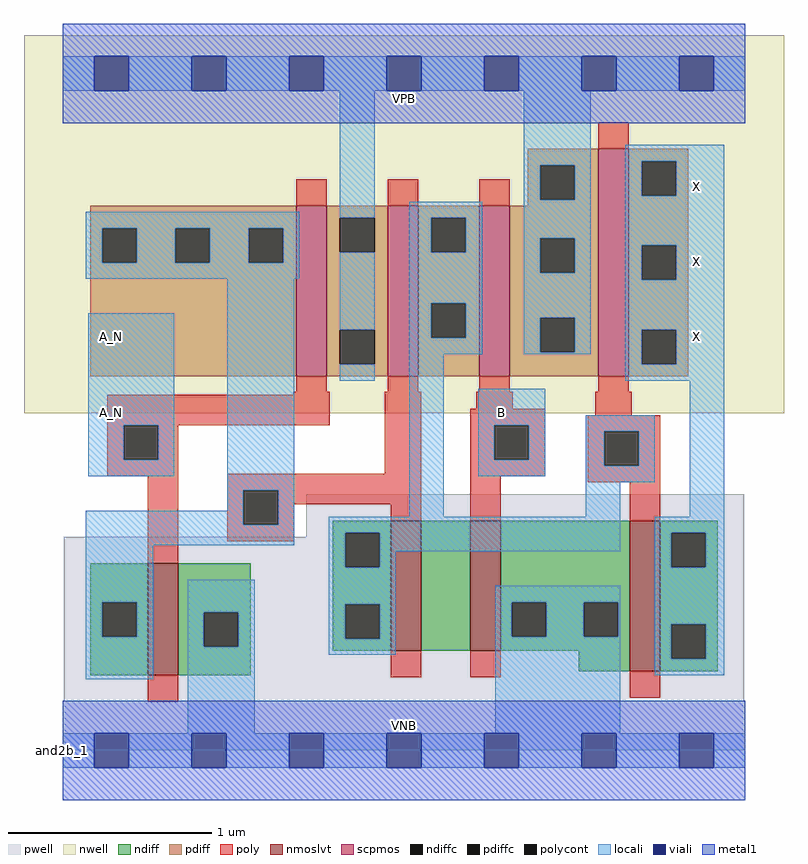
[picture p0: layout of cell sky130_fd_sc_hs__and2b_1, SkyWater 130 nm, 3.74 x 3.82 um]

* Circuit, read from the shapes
.subckt sky130_fd_sc_hs__and2b_1 A_N B VGND VNB VPB VPWR X
XM1 VGND A_N n1 VNB sky130_fd_pr__nfet_01v8_lvt w=0.55 l=0.15
XM2 n2 n1 n3 VNB sky130_fd_pr__nfet_01v8_lvt w=0.64 l=0.15
XM3 VGND B n2 VNB sky130_fd_pr__nfet_01v8_lvt w=0.64 l=0.15
XM4 X n3 VGND VNB sky130_fd_pr__nfet_01v8_lvt w=0.74 l=0.15
XM5 VPWR A_N n1 VPB sky130_fd_pr__pfet_01v8 w=0.84 l=0.15
XM6 n3 n1 VPWR VPB sky130_fd_pr__pfet_01v8 w=0.84 l=0.15
XM7 VPWR B n3 VPB sky130_fd_pr__pfet_01v8 w=0.84 l=0.15
XM8 X n3 VPWR VPB sky130_fd_pr__pfet_01v8 w=1.12 l=0.15
.ends

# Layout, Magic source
magic
tech sky130A
magscale 1 2
<< nwell >>
rect -38 332 710 704
<< pwell >>
rect 240 210 671 252
rect 1 49 671 210
rect 0 0 672 49
<< scpmos >>
rect 230 368 260 536
rect 320 368 350 536
rect 410 368 440 536
rect 527 368 557 592
<< nmoslvt >>
rect 84 74 114 184
rect 323 98 353 226
rect 401 98 431 226
rect 558 78 588 226
<< ndiff >>
rect 266 214 323 226
rect 27 146 84 184
rect 27 112 39 146
rect 73 112 84 146
rect 27 74 84 112
rect 114 136 185 184
rect 114 102 139 136
rect 173 102 185 136
rect 114 74 185 102
rect 266 180 278 214
rect 312 180 323 214
rect 266 144 323 180
rect 266 110 278 144
rect 312 110 323 144
rect 266 98 323 110
rect 353 98 401 226
rect 431 146 558 226
rect 431 112 442 146
rect 476 112 513 146
rect 547 112 558 146
rect 431 98 558 112
rect 508 78 558 98
rect 588 214 645 226
rect 588 180 599 214
rect 633 180 645 214
rect 588 124 645 180
rect 588 90 599 124
rect 633 90 645 124
rect 588 78 645 90
<< pdiff >>
rect 458 576 527 592
rect 458 542 470 576
rect 504 542 527 576
rect 458 536 527 542
rect 27 514 230 536
rect 27 480 39 514
rect 73 480 111 514
rect 145 480 183 514
rect 217 480 230 514
rect 27 368 230 480
rect 260 524 320 536
rect 260 490 273 524
rect 307 490 320 524
rect 260 414 320 490
rect 260 380 273 414
rect 307 380 320 414
rect 260 368 320 380
rect 350 524 410 536
rect 350 490 363 524
rect 397 490 410 524
rect 350 440 410 490
rect 350 406 363 440
rect 397 406 410 440
rect 350 368 410 406
rect 440 504 527 536
rect 440 470 470 504
rect 504 470 527 504
rect 440 426 527 470
rect 440 392 470 426
rect 504 392 527 426
rect 440 368 527 392
rect 557 580 616 592
rect 557 546 570 580
rect 604 546 616 580
rect 557 497 616 546
rect 557 463 570 497
rect 604 463 616 497
rect 557 414 616 463
rect 557 380 570 414
rect 604 380 616 414
rect 557 368 616 380
<< ndiffc >>
rect 39 112 73 146
rect 139 102 173 136
rect 278 180 312 214
rect 278 110 312 144
rect 442 112 476 146
rect 513 112 547 146
rect 599 180 633 214
rect 599 90 633 124
<< pdiffc >>
rect 470 542 504 576
rect 39 480 73 514
rect 111 480 145 514
rect 183 480 217 514
rect 273 490 307 524
rect 273 380 307 414
rect 363 490 397 524
rect 363 406 397 440
rect 470 470 504 504
rect 470 392 504 426
rect 570 546 604 580
rect 570 463 604 497
rect 570 380 604 414
<< poly >>
rect 527 592 557 618
rect 230 536 260 562
rect 320 536 350 562
rect 410 536 440 562
rect 230 353 260 368
rect 320 353 350 368
rect 410 353 440 368
rect 527 353 557 368
rect 227 350 263 353
rect 44 320 263 350
rect 44 286 60 320
rect 94 286 114 320
rect 44 270 114 286
rect 317 272 353 353
rect 407 336 443 353
rect 84 184 114 270
rect 162 256 353 272
rect 162 222 178 256
rect 212 242 353 256
rect 212 222 228 242
rect 323 226 353 242
rect 401 320 475 336
rect 524 330 560 353
rect 401 286 425 320
rect 459 286 475 320
rect 401 270 475 286
rect 517 314 588 330
rect 517 280 533 314
rect 567 280 588 314
rect 401 226 431 270
rect 517 264 588 280
rect 558 226 588 264
rect 162 206 228 222
rect 84 48 114 74
rect 323 72 353 98
rect 401 72 431 98
rect 558 52 588 78
<< polycont >>
rect 60 286 94 320
rect 178 222 212 256
rect 425 286 459 320
rect 533 280 567 314
<< locali >>
rect 0 649 31 683
rect 65 649 127 683
rect 161 649 223 683
rect 257 649 319 683
rect 353 649 415 683
rect 449 649 511 683
rect 545 649 607 683
rect 641 649 672 683
rect 23 514 233 530
rect 23 480 39 514
rect 73 480 111 514
rect 145 480 183 514
rect 217 480 233 514
rect 23 464 233 480
rect 273 524 307 649
rect 454 576 520 649
rect 454 542 470 576
rect 504 542 520 576
rect 25 320 110 430
rect 25 286 60 320
rect 94 286 110 320
rect 25 270 110 286
rect 162 256 228 464
rect 273 414 307 490
rect 273 364 307 380
rect 341 524 413 540
rect 341 490 363 524
rect 397 490 413 524
rect 341 440 413 490
rect 341 406 363 440
rect 397 406 413 440
rect 341 390 413 406
rect 454 504 520 542
rect 454 470 470 504
rect 504 470 520 504
rect 454 426 520 470
rect 454 392 470 426
rect 504 392 520 426
rect 454 390 520 392
rect 554 580 651 596
rect 554 546 570 580
rect 604 546 651 580
rect 554 497 651 546
rect 554 463 570 497
rect 604 463 651 497
rect 554 414 651 463
rect 162 236 178 256
rect 23 222 178 236
rect 212 222 228 256
rect 341 230 375 390
rect 554 380 570 414
rect 604 380 651 414
rect 554 364 651 380
rect 409 320 475 356
rect 409 286 425 320
rect 459 286 475 320
rect 409 270 475 286
rect 515 314 583 330
rect 515 280 533 314
rect 567 280 583 314
rect 515 264 583 280
rect 515 230 549 264
rect 617 230 651 364
rect 23 202 228 222
rect 262 214 549 230
rect 23 146 89 202
rect 262 180 278 214
rect 312 196 549 214
rect 583 214 651 230
rect 312 180 328 196
rect 23 112 39 146
rect 73 112 89 146
rect 23 70 89 112
rect 123 136 189 168
rect 123 102 139 136
rect 173 102 189 136
rect 123 17 189 102
rect 262 144 328 180
rect 583 180 599 214
rect 633 180 651 214
rect 262 110 278 144
rect 312 110 328 144
rect 262 94 328 110
rect 426 146 549 162
rect 426 112 442 146
rect 476 112 513 146
rect 547 112 549 146
rect 426 17 549 112
rect 583 124 651 180
rect 583 90 599 124
rect 633 90 651 124
rect 583 74 651 90
rect 0 -17 31 17
rect 65 -17 127 17
rect 161 -17 223 17
rect 257 -17 319 17
rect 353 -17 415 17
rect 449 -17 511 17
rect 545 -17 607 17
rect 641 -17 672 17
<< viali >>
rect 31 649 65 683
rect 127 649 161 683
rect 223 649 257 683
rect 319 649 353 683
rect 415 649 449 683
rect 511 649 545 683
rect 607 649 641 683
rect 31 -17 65 17
rect 127 -17 161 17
rect 223 -17 257 17
rect 319 -17 353 17
rect 415 -17 449 17
rect 511 -17 545 17
rect 607 -17 641 17
<< metal1 >>
rect 0 683 672 715
rect 0 649 31 683
rect 65 649 127 683
rect 161 649 223 683
rect 257 649 319 683
rect 353 649 415 683
rect 449 649 511 683
rect 545 649 607 683
rect 641 649 672 683
rect 0 617 672 649
rect 0 17 672 49
rect 0 -17 31 17
rect 65 -17 127 17
rect 161 -17 223 17
rect 257 -17 319 17
rect 353 -17 415 17
rect 449 -17 511 17
rect 545 -17 607 17
rect 641 -17 672 17
rect 0 -49 672 -17
<< labels >>
rlabel comment s 0 0 0 0 4 and2b_1
flabel pwell s 0 0 672 49 0 FreeSans 200 0 0 0 VNB
port 4 nsew ground bidirectional
flabel nwell s 0 617 672 666 0 FreeSans 200 0 0 0 VPB
port 5 nsew power bidirectional
flabel metal1 s 0 617 672 666 0 FreeSans 340 0 0 0 VPWR
port 6 nsew power bidirectional
flabel metal1 s 0 0 672 49 0 FreeSans 340 0 0 0 VGND
port 3 nsew ground bidirectional
flabel locali s 415 316 449 350 0 FreeSans 340 0 0 0 B
port 2 nsew signal input
flabel locali s 31 316 65 350 0 FreeSans 340 0 0 0 A_N
port 1 nsew signal input
flabel locali s 31 390 65 424 0 FreeSans 340 0 0 0 A_N
port 1 nsew signal input
flabel locali s 607 390 641 424 0 FreeSans 340 0 0 0 X
port 7 nsew signal output
flabel locali s 607 464 641 498 0 FreeSans 340 0 0 0 X
port 7 nsew signal output
flabel locali s 607 538 641 572 0 FreeSans 340 0 0 0 X
port 7 nsew signal output
<< properties >>
string LEFsite unit
string LEFclass CORE
string FIXED_BBOX 0 0 672 666
string GDS_FILE $PDKPATH/libs.ref/sky130_fd_sc_hs/gds/sky130_fd_sc_hs.gds
string LEFsymmetry X Y
string GDS_END 3229916
string GDS_START 3223798
<< end >>
